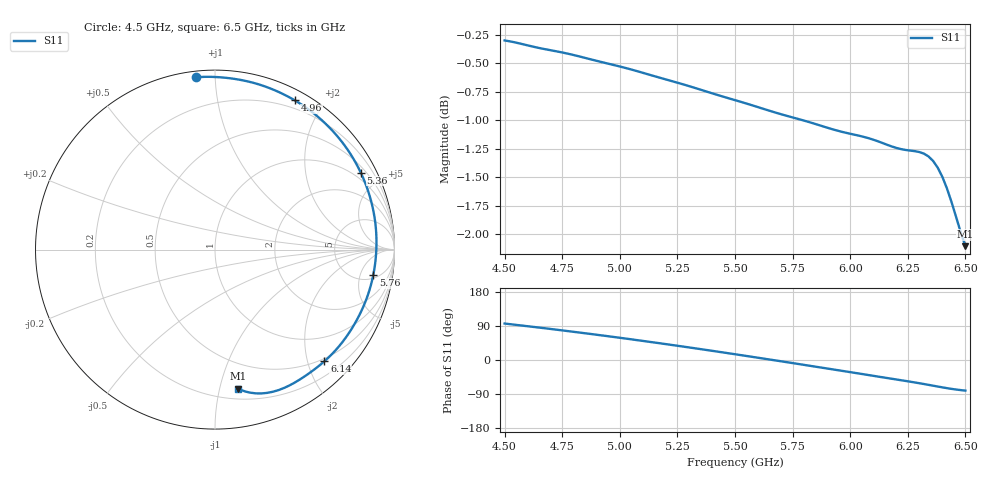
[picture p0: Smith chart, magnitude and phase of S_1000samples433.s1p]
! TOUCHSTONE file generated by CST MICROWAVE STUDIO
! Date and time: Fri Oct 28 04:07:16 2022
! Project name: L.cst
! Parameters = {Di=1.27; Epsilon_r=1.56; InnerDiameter=1.27; Length=2; Lf=10; Lg=60; OuterConductorThickness=0.2921; OuterDiameter=3.6; Wf=3; Wp=41.2; de=1.5; df=6.8; g=0.8; gx=2.93414; gy=4.77942; h=2.34; hf=1.524; px=8.12324; py=14.7572; w=9.7; wx=5.1891; wy=9.97779}
! Header version: 2018
! Port assignment regex: !\s*Touchstone port\s*([0-9]+)\s*=\s*(CST MWS port|CST DS port)\s*([0-9]+|Zmin|Zmax)\s*\(\"(.*)\"\)(\s*mode\s*([0-9]+))?.*
! Touchstone port assignment:
! Touchstone port 1 = CST MWS port 1 ("")
# GHz S DB R 50
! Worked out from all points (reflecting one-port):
!   101 points, 4.5 GHz to 6.5 GHz, reference 50 ohm
!   lowest |S11| = -2.1 dB at 6.5 GHz (marker M1), VSWR 8.30, Z = 14.1 - j56.8 ohm
!   phase of S11 starts at 96 deg and turns -177 deg over the sweep
!   S11 on the Smith chart (normalised r, x): 4.5 GHz: 0.03, +0.90; 4.96 GHz: 0.11, +1.66; 5.36 GHz: 0.71, +3.91; 5.76 GHz: 6, -8; 6.14 GHz: 0.45, -2.31; 6.5 GHz: 0.28, -1.14
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4.5  -0.30 96.2
4.62  -0.35 87.7
4.7  -0.39 81.9
4.76  -0.41 77.4
4.86  -0.46 69.7
4.96  -0.51 61.8
5  -0.53 58.6
5.12  -0.60 48.7
5.18  -0.63 43.6
5.26  -0.68 36.7
5.36  -0.74 27.9
5.44  -0.79 20.7
5.5  -0.82 15.2
5.56  -0.86 9.7
5.62  -0.90 4.1
5.7  -0.95 -3.4
5.76  -0.98 -9.1
5.82  -1.02 -14.8
5.88  -1.05 -20.5
6  -1.12 -32.0
6.06  -1.15 -37.8
6.14  -1.20 -45.6
6.26  -1.27 -57.2
6.32  -1.29 -63.4
6.38  -1.42 -70.0
6.44  -1.72 -76.2
6.48  -1.98 -79.5
6.5  -2.10 -80.7
